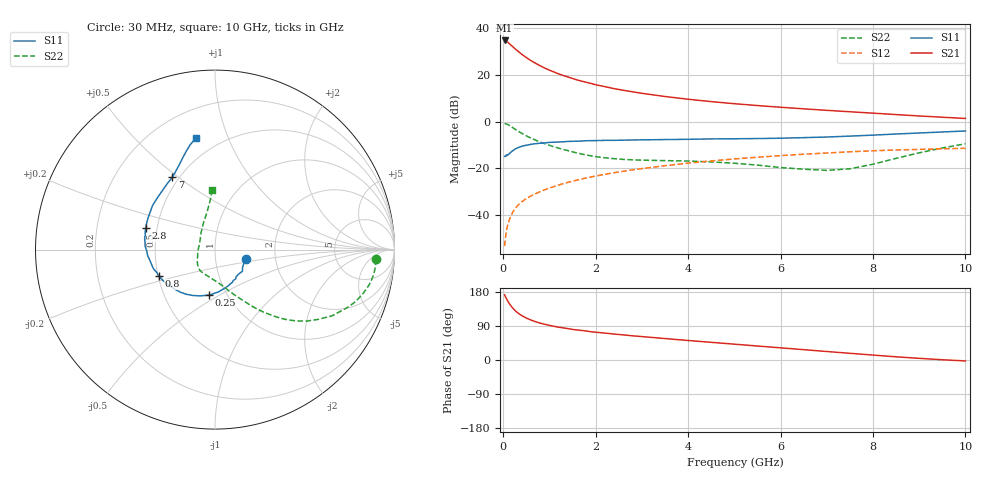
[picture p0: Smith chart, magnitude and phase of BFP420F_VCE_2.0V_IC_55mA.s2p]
! Infineon Technologies  Discrete & RF Semiconductors
! BFP420F
! VCE =  2.0 V,  IC =  55 mA
! Common Emitter S-Parameters:  Sep 2011
# GHz  S  MA  R  50
!  f  S11  S21  S12  S22
! GHz  MAG  ANG  MAG  ANG  MAG  ANG  MAG  ANG
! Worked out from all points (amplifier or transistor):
!   54 points, 30 MHz to 10 GHz, reference 50 ohm
!   highest |S21| = 34.6 dB at 30 MHz (marker M1)
!   |S21| within 3 dB of that: start of sweep to 225.2 MHz
!   unconditionally stable (mu >= 1): 1.131 GHz to end of sweep
!   at 120 MHz: K = 0.48, MSG = 38.1 dB, |S12| = -42.7 dB
!   at 1.3 GHz: K = 1.04, MAG = 21.9 dB, |S12| = -26.5 dB
!   at 10 GHz: K = 1.22, MAG = 3.5 dB, |S12| = -11.4 dB
!   S11 on the Smith chart (normalised r, x): 30 MHz: 1.41, -0.15; 250 MHz: 0.83, -0.45; 800 MHz: 0.51, -0.17; 2.8 GHz: 0.43, +0.12; 7 GHz: 0.46, +0.47; 10 GHz: 0.38, +0.77
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0.03  0.1809 -17.0  53.55 172.1  0.0022 93.6  0.8968 -3.5
0.05  0.1789 -27.4  52.36 166.6  0.0034 88.2  0.8971 -7.6
0.07  0.1953 -38.4  51.43 162.0  0.0048 85.8  0.887 -11.4
0.08  0.1919 -41.1  50.4 159.5  0.0053 83.3  0.8793 -13.2
0.1  0.1918 -52.4  49.03 155.0  0.0064 80.9  0.8604 -16.5
0.12  0.2006 -59.8  47.13 150.8  0.0073 79.8  0.8395 -19.5
0.15  0.2154 -70.0  44.25 145.5  0.0089 77.8  0.8057 -23.6
0.2  0.2366 -85.1  39.95 137.9  0.0114 75.1  0.7492 -29.5
0.25  0.256 -97.5  36.01 131.3  0.0135 72.6  0.6937 -34.1
0.3  0.2715 -108.2  32.8 125.9  0.0157 71.5  0.646 -38.1
0.35  0.2849 -116.3  29.81 121.3  0.0176 70.5  0.6004 -41.4
0.45  0.3053 -128.9  25.09 113.8  0.021 69.2  0.5274 -46.4
0.6  0.3266 -142.6  19.88 105.4  0.0259 68.4  0.4423 -52.1
0.8  0.3452 -154.8  15.44 97.2  0.032 68.2  0.3659 -57.7
1.2  0.3664 -169.6  10.37 86.5  0.0443 67.9  0.2706 -67.3
1.7  0.3844 179.2  7.249 77.9  0.0596 66.7  0.2024 -79.1
2.8  0.404 162.8  4.301 63.8  0.0933 61.9  0.1526 -105.7
3.5  0.4126 154.8  3.418 56.6  0.1144 58.2  0.1467 -117.8
5.5  0.4337 136.3  2.192 36.9  0.1735 45.4  0.1178 -147.1
7  0.4676 120.6  1.733 22.4  0.2135 34.9  0.091 167.4
8.5  0.5419 109.4  1.407 8.4  0.2472 23.6  0.1639 112.9
10  0.6289 99.9  1.163 -2.5  0.269 14.2  0.3348 92.6
